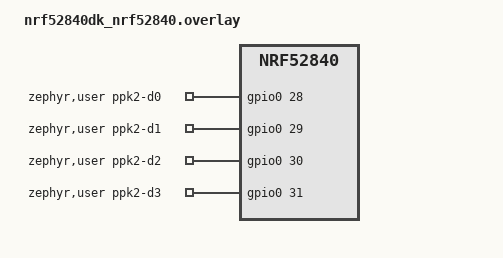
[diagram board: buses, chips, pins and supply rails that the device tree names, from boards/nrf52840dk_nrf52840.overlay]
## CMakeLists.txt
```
cmake_minimum_required(VERSION 3.20.0)
find_package(Zephyr REQUIRED HINTS $ENV{ZEPHYR_BASE})
project(profiling_cpp LANGUAGES C CXX)

target_sources(app PRIVATE src/main.cpp src/cycle.cpp src/phases.cpp)
```

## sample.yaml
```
sample:
  name: PPK2 phase profiling (C++)
  description: Same cycle as the C sample, with RAII guards
tests:
  sample.ppk2.profiling_cpp:
    platform_allow:
      - nrf52840dk/nrf52840
      - nrf54lm20dk/nrf54lm20b/cpuapp
    tags: ppk2 power
    build_only: true
```

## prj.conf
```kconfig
# Quiet config: nothing but the workload shapes the current trace.
CONFIG_GPIO=y
CONFIG_PPK2_TRACE=y
CONFIG_CPP=y
CONFIG_STD_CPP17=y

CONFIG_LOG=n
CONFIG_PRINTK=n
CONFIG_BOOT_BANNER=n
CONFIG_CONSOLE=n
CONFIG_SERIAL=n
CONFIG_UART_CONSOLE=n
```

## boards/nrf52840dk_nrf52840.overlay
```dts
/* Same pins as samples/profiling — see that overlay for the rationale. */
/ {
	zephyr,user {
		ppk2-d0-gpios = <&gpio0 28 GPIO_ACTIVE_HIGH>;
		ppk2-d1-gpios = <&gpio0 29 GPIO_ACTIVE_HIGH>;
		ppk2-d2-gpios = <&gpio0 30 GPIO_ACTIVE_HIGH>;
		ppk2-d3-gpios = <&gpio0 31 GPIO_ACTIVE_HIGH>;
	};
};
```

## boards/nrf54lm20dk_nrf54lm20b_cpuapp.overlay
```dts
/* Same pins as samples/profiling — see that overlay for the rationale. */
/ {
	zephyr,user {
		ppk2-d0-gpios = <&gpio1 12 GPIO_ACTIVE_HIGH>;
		ppk2-d1-gpios = <&gpio1 13 GPIO_ACTIVE_HIGH>;
		ppk2-d2-gpios = <&gpio1 14 GPIO_ACTIVE_HIGH>;
		ppk2-d3-gpios = <&gpio1 15 GPIO_ACTIVE_HIGH>;
	};
};
```

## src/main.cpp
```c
/*
 * C++ variant of the profiling sample: the same phase cycle, with a
 * TraceScope annotation at the top of each function — main() reads as
 * untraced code, and the guard drops on any exit path (see transmit(),
 * which bails out early every 8th cycle).
 *
 * boot:         3 quick pulses on the cycle channel (sync burst)
 * cycle (D0):   wakeup (D1) -> measure (D2) -> transmit (D3)
 *               -> 400 ms in-cycle sleep (cycle still high)
 * between:      2 s deep idle, repeat forever
 *
 * Claims are shared with C by design (see ppk2_trace.h): a second
 * claim of the same channel in another file is a link error.
 */
#include <zephyr/kernel.h>

#include <ppk2_trace.h>

#include "app.h"

static void sync_burst(void)
{
	for (int i = 0; i < 3; i++) { /* < 5 ms pulses */
		ppk2_trace_set(0, true);
		k_busy_wait(1000);
		ppk2_trace_set(0, false);
		k_busy_wait(1000);
	}
}

int main(void)
{
	sync_burst();
	k_sleep(K_MSEC(500));

	for (int n = 0;; n++) {
		run_cycle(n);
		k_sleep(K_SECONDS(2)); /* deep idle between cycles */
	}
	return 0;
}
```

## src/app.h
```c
#ifndef APP_H_
#define APP_H_

void run_cycle(int cycle_no);
void wakeup();
void measure();
bool transmit(int cycle_no);

#endif /* APP_H_ */
```

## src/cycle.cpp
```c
/* The application cycle — a TraceScope at the top. */
#include <zephyr/kernel.h>

#include <ppk2_trace.hpp>

#include "app.h"

PPK2_TRACE_CLAIM(0, cycle);

void run_cycle(int cycle_no)
{
	ppk2::TraceScope mark{ppk2_ch_cycle};

	wakeup();
	measure();
	(void)transmit(cycle_no);
	k_sleep(K_MSEC(400)); /* in-cycle sleep */
}
```

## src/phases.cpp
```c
/* The application phases — a TraceScope at the top of each. */
#include <zephyr/kernel.h>

#include <ppk2_trace.hpp>

#include "app.h"

PPK2_TRACE_CLAIM(1, wakeup);
PPK2_TRACE_CLAIM(2, measure);
PPK2_TRACE_CLAIM(3, transmit);

static void busy_ms(int ms)
{
	for (int i = 0; i < ms; i++) {
		k_busy_wait(1000);
	}
}

void wakeup()
{
	ppk2::TraceScope mark{ppk2_ch_wakeup};

	busy_ms(20); /* clocks + peripherals up */
}

void measure()
{
	ppk2::TraceScope mark{ppk2_ch_measure};

	busy_ms(120);        /* sample sensor */
	k_sleep(K_MSEC(30)); /* conversion wait */
	busy_ms(50);         /* crunch */
}

bool transmit(int cycle_no)
{
	ppk2::TraceScope mark{ppk2_ch_transmit};

	if (cycle_no % 8 == 7) { /* nothing to send: early return... */
		return false;    /* ...the marker still drops */
	}
	busy_ms(200); /* radio-shaped burst */
	return true;
}
```
